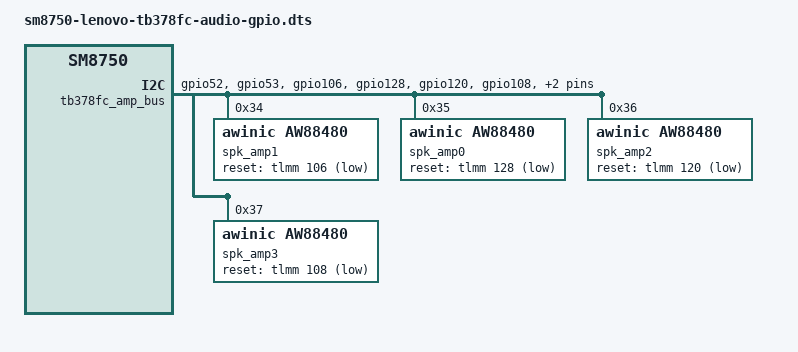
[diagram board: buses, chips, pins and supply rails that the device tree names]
// SPDX-License-Identifier: BSD-3-Clause
/* Native amp enumeration only: no sound card or automatic playback. */
#include "sm8750-lenovo-tb378fc-battery.dts"

&tlmm {
    tb378fc_amp_resets: amp-resets-state {
        pins = "gpio106", "gpio128", "gpio120", "gpio108";
        function = "gpio";
        drive-strength = <2>;
        bias-disable;
    };
};

/* Never let the hardware GPI controller claim these same lines. */
&i2c5 { status = "disabled"; };

&tlmm {
    tb378fc_gpio_i2c: tb378fc-amp-i2c-state {
        pins = "gpio52", "gpio53";
        function = "gpio";
        drive-strength = <2>;
        bias-pull-up;
    };
};

/ {
    tb378fc_amp_bus: tb378fc-amp-i2c {
    compatible = "i2c-gpio";
    #address-cells = <1>;
    #size-cells = <0>;
    sda-gpios = <&tlmm 52 (GPIO_ACTIVE_HIGH | GPIO_OPEN_DRAIN)>;
    scl-gpios = <&tlmm 53 (GPIO_ACTIVE_HIGH | GPIO_OPEN_DRAIN)>;
    i2c-gpio,delay-us = <5>;
    pinctrl-names = "default";
    pinctrl-0 = <&tb378fc_gpio_i2c>, <&tb378fc_amp_resets>;

    spk_amp1: amplifier@34 {
        compatible = "awinic,aw88480";
        reg = <0x34>;
        #sound-dai-cells = <0>;
        sound-name-prefix = "Amp1";
        awinic,audio-channel = <1>;
        reset-gpios = <&tlmm 106 GPIO_ACTIVE_LOW>;
        firmware-name = "awinic/tb378fc/aw88480-native-music.acf";
    };

    spk_amp0: amplifier@35 {
        compatible = "awinic,aw88480";
        reg = <0x35>;
        #sound-dai-cells = <0>;
        sound-name-prefix = "Amp0";
        awinic,audio-channel = <0>;
        reset-gpios = <&tlmm 128 GPIO_ACTIVE_LOW>;
        firmware-name = "awinic/tb378fc/aw88480-native-music.acf";
    };

    spk_amp2: amplifier@36 {
        compatible = "awinic,aw88480";
        reg = <0x36>;
        #sound-dai-cells = <0>;
        sound-name-prefix = "Amp2";
        awinic,audio-channel = <2>;
        reset-gpios = <&tlmm 120 GPIO_ACTIVE_LOW>;
        firmware-name = "awinic/tb378fc/aw88480-native-music.acf";
    };

    spk_amp3: amplifier@37 {
        compatible = "awinic,aw88480";
        reg = <0x37>;
        #sound-dai-cells = <0>;
        sound-name-prefix = "Amp3";
        awinic,audio-channel = <3>;
        reset-gpios = <&tlmm 108 GPIO_ACTIVE_LOW>;
        firmware-name = "awinic/tb378fc/aw88480-native-music.acf";
    };
};
};

// SPDX-License-Identifier: BSD-3-Clause


/ {
    sound {
        compatible = "qcom,sm8750-sndcard", "qcom,sm8450-sndcard";
        model = "Lenovo-TB378FC";
        widgets = "Speaker", "Speakers";
        audio-routing = "Speakers", "Amp0 OUT",
                        "Speakers", "Amp1 OUT",
                        "Speakers", "Amp2 OUT",
                        "Speakers", "Amp3 OUT";
        pinctrl-names = "default";
        pinctrl-0 = <&tb378fc_sec_tdm>;

        speaker-playback-dai-link {
            link-name = "Speaker Playback";
            dai-format = "dsp_b";
            convert-rate = <48000>;
            convert-channels = <4>;
            convert-sample-format = "s32_le";
            cpu {
                sound-dai = <&q6apmbedai SECONDARY_TDM_RX_0>;
                dai-tdm-slot-num = <4>;
                dai-tdm-slot-width = <32>;
                dai-tdm-slot-rx-mask = <1 1 1 1>;
            };
            codec-0 {
                sound-dai = <&spk_amp0>;
                dai-tdm-slot-tx-mask = <1>;
                dai-tdm-slot-rx-mask = <1>;
                bitclock-inversion;
            };
            codec-1 {
                sound-dai = <&spk_amp1>;
                dai-tdm-slot-tx-mask = <0 1>;
                dai-tdm-slot-rx-mask = <0 1>;
                bitclock-inversion;
            };
            codec-2 {
                sound-dai = <&spk_amp2>;
                dai-tdm-slot-tx-mask = <0 0 1>;
                dai-tdm-slot-rx-mask = <0 0 1>;
                bitclock-inversion;
            };
            codec-3 {
                sound-dai = <&spk_amp3>;
                dai-tdm-slot-tx-mask = <0 0 0 1>;
                dai-tdm-slot-rx-mask = <0 0 0 1>;
                bitclock-inversion;
            };
            platform { sound-dai = <&q6apm>; };
        };
    };
};

&tlmm {
    tb378fc_sec_tdm: secondary-tdm-state {
        sck-pins {
            pins = "gpio121";
            function = "i2s1_sck";
            drive-strength = <8>;
            bias-disable;
        };
        data0-pins {
            pins = "gpio122";
            function = "i2s1_data0";
            drive-strength = <8>;
            bias-disable;
        };
        ws-pins {
            pins = "gpio123";
            function = "i2s1_ws";
            drive-strength = <8>;
            bias-disable;
        };
        data1-pins {
            pins = "gpio124";
            function = "i2s1_data1";
            drive-strength = <8>;
            bias-disable;
        };
    };
};
